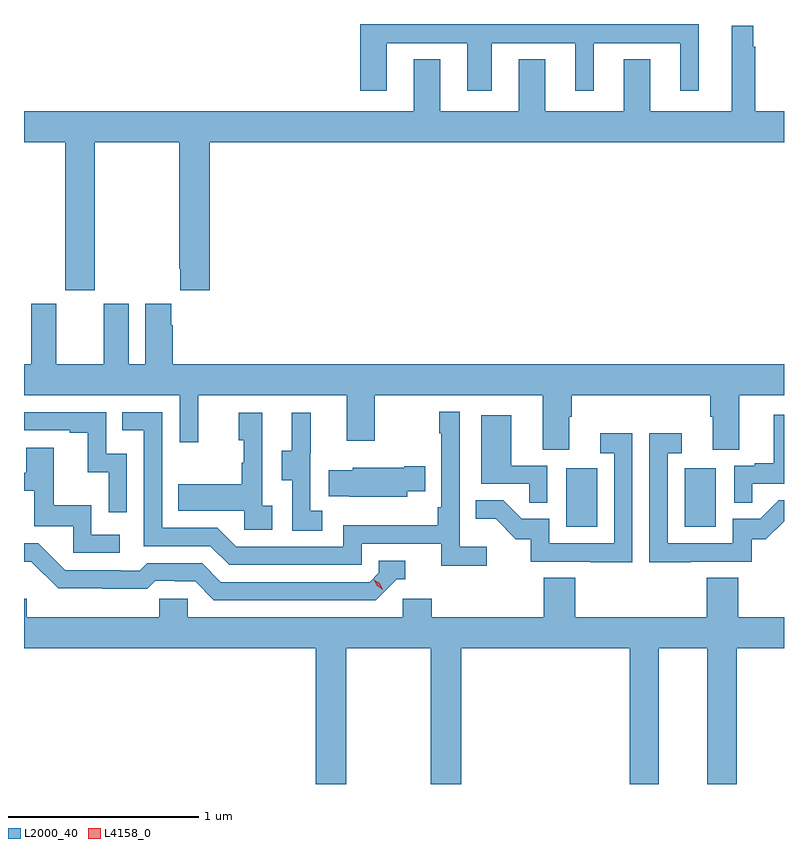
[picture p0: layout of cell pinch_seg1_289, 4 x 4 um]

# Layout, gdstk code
import gdstk
lib = gdstk.Library(unit=1e-6, precision=1e-09)
def R(c, l, rs):  # rectangles x0, y0, x1, y1
    for r in rs: c.add(gdstk.rectangle(r[:2], r[2:], *l))
def P(c, l, *ps):  # polygons
    for p in ps: c.add(gdstk.Polygon(p, *l))
L2000_40 = (2000, 40)
L4158_0 = (4158, 0)

pinch_seg1_289 = lib.new_cell('pinch_seg1_289')
R(pinch_seg1_289, L2000_40, [(942.806,555.036,942.97,555.343), (943.43,555.036,943.594,555.343)])
P(pinch_seg1_289, L2000_40, [(941.863,557.582),(942.287,557.582),(942.287,557.331),(942.415,557.331),(942.415,557.582),(942.854,557.582),(942.854,557.331),(942.952,557.331),(942.952,557.582),(943.406,557.582),(943.406,557.331),(943.504,557.331),(943.504,557.682),(941.723,557.682),(941.723,557.331),(941.863,557.331)],
  [(940.326,557.06),(940.771,557.06),(940.771,556.393),(940.775,556.393),(940.775,556.281),(940.931,556.281),(940.931,557.06),(943.953,557.06),(943.953,557.224),(943.801,557.224),(943.801,557.561),(943.79,557.561),(943.79,557.674),(943.679,557.674),(943.679,557.224),(943.249,557.224),(943.249,557.497),(943.109,557.497),(943.109,557.224),(942.697,557.224),(942.697,557.497),(942.557,557.497),(942.557,557.224),(942.145,557.224),(942.145,557.497),(942.005,557.497),(942.005,557.224),(939.953,557.224),(939.953,557.06),(940.171,557.06),(940.171,556.281),(940.326,556.281)],
  [(942.823,555.616),(942.836,555.616),(942.836,555.728),(943.565,555.728),(943.565,555.616),(943.577,555.616),(943.577,555.442),(943.717,555.442),(943.717,555.728),(943.953,555.728),(943.953,555.892),(940.736,555.892),(940.736,556.097),(940.729,556.097),(940.729,556.21),(940.592,556.21),(940.592,555.892),(940.504,555.892),(940.504,556.21),(940.373,556.21),(940.373,555.892),(940.123,555.892),(940.123,556.21),(939.992,556.21),(939.992,555.892),(939.953,555.892),(939.953,555.728),(940.773,555.728),(940.773,555.48),(940.871,555.48),(940.871,555.728),(941.651,555.728),(941.651,555.489),(941.799,555.489),(941.799,555.728),(942.683,555.728),(942.683,555.442),(942.823,555.442)],
  [(942.388,554.932),(942.246,554.932),(942.246,555.64),(942.138,555.64),(942.138,555.527),(942.15,555.527),(942.15,555.139),(942.13,555.139),(942.13,555.043),(941.634,555.043),(941.634,554.931),(941.07,554.931),(940.971,555.03),(940.68,555.03),(940.68,555.639),(940.471,555.639),(940.471,555.543),(940.584,555.543),(940.584,554.934),(940.934,554.934),(941.033,554.835),(941.73,554.835),(941.73,554.946),(942.149,554.946),(942.149,554.83),(942.388,554.83)],
  [(940.494,555.42),(940.386,555.42),(940.386,555.639),(939.953,555.639),(939.953,555.543),(940.193,555.543),(940.193,555.531),(940.289,555.531),(940.289,555.323),(940.398,555.323),(940.398,555.111),(940.494,555.111)],
  [(941.524,555.119),(941.46,555.119),(941.46,555.423),(941.462,555.423),(941.462,555.637),(941.363,555.637),(941.363,555.435),(941.309,555.435),(941.309,555.28),(941.364,555.28),(941.364,555.016),(941.524,555.016)],
  [(941.26,555.146),(941.208,555.146),(941.208,555.637),(941.084,555.637),(941.084,555.492),(941.11,555.492),(941.11,555.374),(941.1,555.374),(941.1,555.259),(940.765,555.259),(940.765,555.119),(941.112,555.119),(941.112,555.021),(941.26,555.021)],
  [(943.787,555.261),(943.953,555.261),(943.953,555.625),(943.898,555.625),(943.898,555.37),(943.799,555.37),(943.799,555.357),(943.692,555.357),(943.692,555.163),(943.787,555.163)],
  [(942.708,555.357),(942.517,555.357),(942.517,555.622),(942.359,555.622),(942.359,555.261),(942.613,555.261),(942.613,555.163),(942.708,555.163)],
  [(943.463,554.853),(943.782,554.853),(943.782,554.97),(943.858,554.97),(943.953,555.065),(943.953,555.176),(943.925,555.176),(943.827,555.078),(943.683,555.078),(943.683,554.949),(943.341,554.949),(943.341,555.423),(943.414,555.423),(943.414,555.529),(943.245,555.529),(943.245,554.848),(943.463,554.848)],
  [(943.155,555.529),(942.987,555.529),(942.987,555.423),(943.059,555.423),(943.059,554.949),(942.717,554.949),(942.717,555.078),(942.573,555.078),(942.475,555.176),(942.331,555.176),(942.331,555.077),(942.435,555.077),(942.542,554.97),(942.619,554.97),(942.619,554.853),(942.937,554.853),(942.937,554.848),(943.155,554.848)],
  [(940.456,554.994),(940.308,554.994),(940.308,555.148),(940.109,555.148),(940.109,555.451),(939.965,555.451),(939.965,555.321),(939.953,555.321),(939.953,555.225),(940.007,555.225),(940.007,555.039),(940.212,555.039),(940.212,554.898),(940.456,554.898)],
  [(941.971,555.224),(942.065,555.224),(942.065,555.354),(941.954,555.354),(941.954,555.346),(941.682,555.346),(941.682,555.334),(941.557,555.334),(941.557,555.197),(941.665,555.197),(941.665,555.194),(941.971,555.194)],
  [(941.916,554.76),(941.959,554.76),(941.959,554.856),(941.82,554.856),(941.82,554.793),(941.772,554.745),(940.989,554.745),(940.89,554.844),(940.601,554.844),(940.562,554.805),(940.463,554.805),(940.463,554.808),(940.17,554.808),(940.029,554.949),(939.953,554.949),(939.953,554.853),(939.99,554.853),(940.132,554.711),(940.368,554.711),(940.368,554.709),(940.601,554.709),(940.643,554.751),(940.746,554.751),(940.746,554.748),(940.853,554.748),(940.952,554.649),(941.805,554.649)],
  [(941.649,554.396),(942.094,554.396),(942.094,553.682),(942.254,553.682),(942.254,554.396),(943.142,554.396),(943.142,553.682),(943.294,553.682),(943.294,554.396),(943.55,554.396),(943.55,553.682),(943.703,553.682),(943.703,554.396),(943.953,554.396),(943.953,554.56),(943.712,554.56),(943.712,554.768),(943.547,554.768),(943.547,554.56),(942.854,554.56),(942.854,554.768),(942.689,554.768),(942.689,554.56),(942.098,554.56),(942.098,554.658),(941.946,554.658),(941.946,554.56),(940.815,554.56),(940.815,554.658),(940.665,554.658),(940.665,554.56),(939.968,554.56),(939.968,554.658),(939.953,554.658),(939.953,554.396),(941.489,554.396),(941.489,553.682),(941.649,553.682)])
P(pinch_seg1_289, L4158_0, [(941.842,554.705),(941.811,554.725),(941.794,554.758),(941.794,554.758),(941.795,554.758),(941.826,554.738),(941.842,554.706),(941.842,554.705)])

lib.write_gds('pinch_seg1_289.gds')
